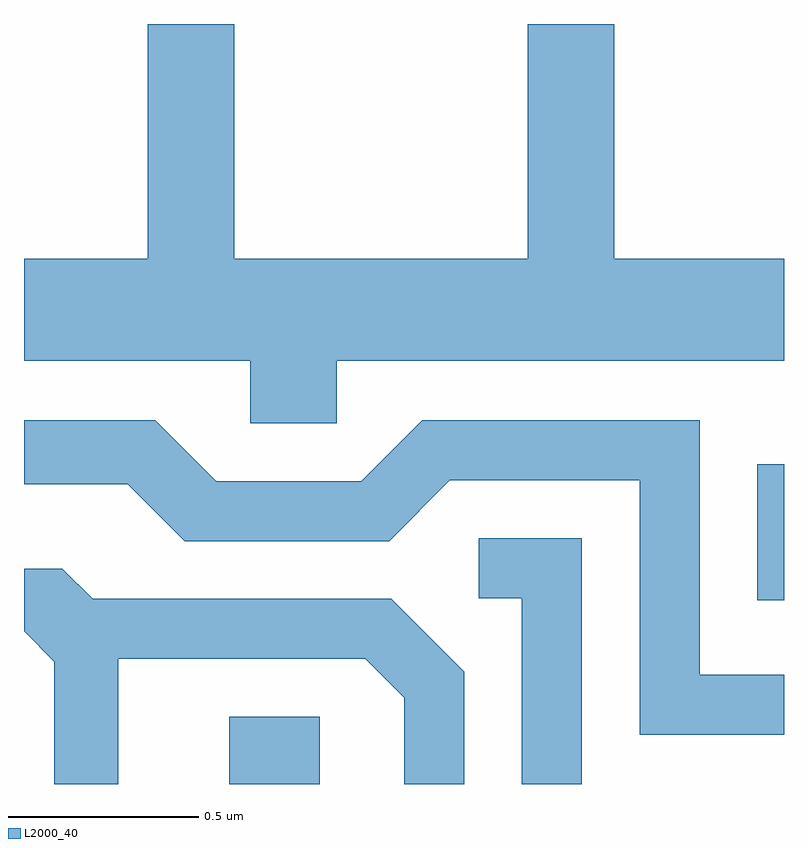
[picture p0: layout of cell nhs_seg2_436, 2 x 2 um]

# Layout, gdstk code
import gdstk
lib = gdstk.Library(unit=1e-6, precision=1e-09)
def R(c, l, rs):  # rectangles x0, y0, x1, y1
    for r in rs: c.add(gdstk.rectangle(r[:2], r[2:], *l))
def P(c, l, *ps):  # polygons
    for p in ps: c.add(gdstk.Polygon(p, *l))
L2000_40 = (2000, 40)

nhs_seg2_436 = lib.new_cell('nhs_seg2_436')
R(nhs_seg2_436, L2000_40, [(189.151,1002.802,189.389,1002.979), (190.541,1003.286,190.611,1003.643)])
P(nhs_seg2_436, L2000_40, [(189.434,1003.916),(190.611,1003.916),(190.611,1004.184),(190.164,1004.184),(190.164,1004.802),(189.936,1004.802),(189.936,1004.184),(189.164,1004.184),(189.164,1004.802),(188.936,1004.802),(188.936,1004.184),(188.611,1004.184),(188.611,1003.916),(189.206,1003.916),(189.206,1003.751),(189.434,1003.751)],
  [(190.611,1003.089),(190.389,1003.089),(190.389,1003.759),(189.659,1003.759),(189.499,1003.599),(189.117,1003.599),(188.957,1003.759),(188.611,1003.759),(188.611,1003.591),(188.884,1003.591),(189.034,1003.441),(189.572,1003.441),(189.732,1003.601),(190.231,1003.601),(190.231,1002.931),(190.611,1002.931)],
  [(190.079,1003.449),(189.808,1003.449),(189.808,1003.291),(189.921,1003.291),(189.921,1002.802),(190.079,1002.802)],
  [(188.859,1003.131),(189.509,1003.131),(189.611,1003.029),(189.611,1002.802),(189.769,1002.802),(189.769,1003.097),(189.577,1003.289),(188.792,1003.289),(188.712,1003.369),(188.611,1003.369),(188.611,1003.204),(188.691,1003.124),(188.691,1002.802),(188.859,1002.802)])

lib.write_gds('nhs_seg2_436.gds')
